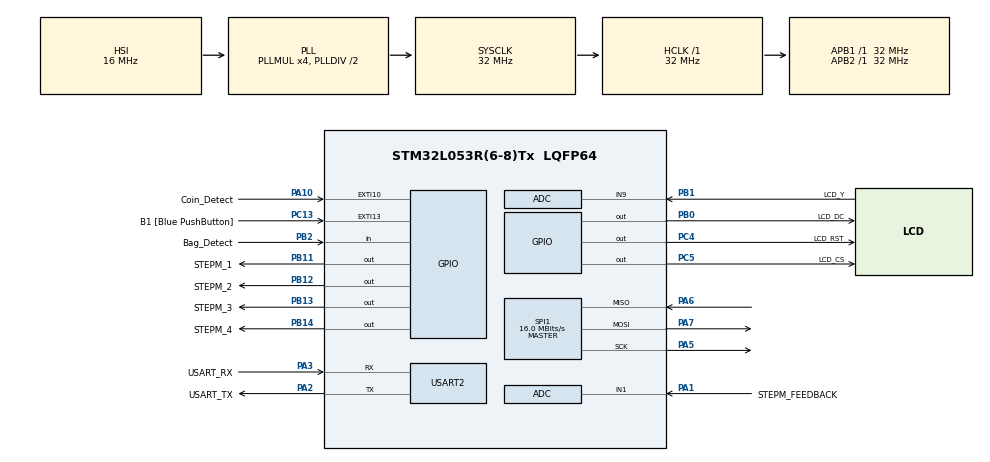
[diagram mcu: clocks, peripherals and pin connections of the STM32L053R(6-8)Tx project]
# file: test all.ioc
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ADC.ClockPrescaler=ADC_CLOCK_SYNC_PCLK_DIV2
ADC.ContinuousConvMode=ENABLE
ADC.DMAContinuousRequests=DISABLE
ADC.DataAlign=ADC_DATAALIGN_RIGHT
ADC.DiscontinuousConvMode=DISABLE
ADC.EOCSelection=ADC_EOC_SINGLE_CONV
ADC.EnableAnalogWatchDog=false
ADC.ExternalTrigConv=ADC_SOFTWARE_START
ADC.ExternalTrigConvEdge=ADC_EXTERNALTRIGCONVEDGE_NONE
ADC.LowPowerAutoPowerOff=DISABLE
ADC.LowPowerAutoWait=DISABLE
ADC.LowPowerFrequencyMode=ENABLE
ADC.Overrun=ADC_OVR_DATA_PRESERVED
ADC.OversamplingMode=DISABLE
ADC.Resolution=ADC_RESOLUTION_12B
ADC.SamplingTime=ADC_SAMPLETIME_7CYCLES_5
ADC.ScanConvMode=ADC_SCAN_DIRECTION_FORWARD
Mcu.Family=STM32L0
Mcu.Name=STM32L053R(6-8)Tx
Mcu.Package=LQFP64
NVIC.ADC1_COMP_IRQn=true\:0\:0\:false\:false\:true\:true
NVIC.EXTI4_15_IRQn=true\:0\:0\:false\:false\:true\:true
PA1.GPIO_Label=STEPM_FEEDBACK
PA1.Mode=IN1
PA1.Signal=ADC_IN1
PA10.GPIO_Label=Coin_Detect
PA10.GPIO_ModeDefaultEXTI=GPIO_MODE_IT_FALLING
PA10.GPIO_PuPd=GPIO_PULLUP
PA10.Signal=GPXTI10
PA13.GPIO_Label=TMS
PA13.Mode=Serial_Wire
PA13.Signal=SYS_SWDIO
PA14.GPIO_Label=TCK
PA14.Mode=Serial_Wire
PA14.Signal=SYS_SWCLK
PA2.GPIO_Label=USART_TX
PA2.Mode=Asynchronous
PA2.Signal=USART2_TX
PA3.GPIO_Label=USART_RX
PA3.Mode=Asynchronous
PA3.Signal=USART2_RX
PA5.Mode=Full_Duplex_Master
PA5.Signal=SPI1_SCK
PA6.Mode=Full_Duplex_Master
PA6.Signal=SPI1_MISO
PA7.Mode=Full_Duplex_Master
PA7.Signal=SPI1_MOSI
PB0.GPIO_Label=LCD_DC
PB0.Signal=GPIO_Output
PB1.GPIO_Label=LCD_Y
PB1.Mode=IN9
PB1.Signal=ADC_IN9
PB11.GPIO_Label=STEPM_1
PB11.Signal=GPIO_Output
PB12.GPIO_Label=STEPM_2
PB12.Signal=GPIO_Output
PB13.GPIO_Label=STEPM_3
PB13.Signal=GPIO_Output
PB14.GPIO_Label=STEPM_4
PB14.Signal=GPIO_Output
PB2.GPIO_Label=Bag_Detect
PB2.Signal=GPIO_Input
PC13.GPIO_Label=B1 [Blue PushButton]
PC13.GPIO_ModeDefaultEXTI=GPIO_MODE_IT_FALLING
PC13.Signal=GPXTI13
PC14-OSC32_IN.Mode=LSE-External-Oscillator
PC14-OSC32_IN.Signal=RCC_OSC32_IN
PC15-OSC32_OUT.Mode=LSE-External-Oscillator
PC15-OSC32_OUT.Signal=RCC_OSC32_OUT
PC4.GPIO_Label=LCD_RST
PC4.Signal=GPIO_Output
PC5.GPIO_Label=LCD_CS
PC5.Signal=GPIO_Output
PH0-OSC_IN.Mode=HSE-External-Clock-Source
PH0-OSC_IN.Signal=RCC_OSC_IN
PH1-OSC_OUT.Signal=RCC_OSC_OUT
ProjectManager.HeapSize=0x200
ProjectManager.StackSize=0x400
ProjectManager.TargetToolchain=MDK-ARM V5
RCC.AHBFreq_Value=32000000
RCC.APB1Freq_Value=32000000
RCC.APB1TimFreq_Value=32000000
RCC.APB2Freq_Value=32000000
RCC.APB2TimFreq_Value=32000000
RCC.HCLKFreq_Value=32000000
RCC.HSE_VALUE=8000000
RCC.HSI16_VALUE=16000000
RCC.HSI48_VALUE=48000000
RCC.HSI_VALUE=16000000
RCC.MSI_VALUE=2097000
RCC.PLLMUL=RCC_PLLMUL_4
RCC.SYSCLKFreq_VALUE=32000000
RCC.SYSCLKSource=RCC_SYSCLKSOURCE_PLLCLK
RCC.VCOOutputFreq_Value=64000000
SPI1.CalculateBaudRate=16.0 MBits/s
SPI1.Direction=SPI_DIRECTION_2LINES
SPI1.Mode=SPI_MODE_MASTER
SPI1.VirtualType=VM_MASTER
USART2.VirtualMode-Asynchronous=VM_ASYNC
board=NUCLEO-L053R8

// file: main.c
/**
  ******************************************************************************
  * @file           : main.c
  * @brief          : Main program body
  ******************************************************************************
  ** This notice applies to any and all portions of this file
  * that are not between comment pairs USER CODE BEGIN and
  * USER CODE END. Other portions of this file, whether
  * inserted by the user or by software development tools
  * are owned by their respective copyright owners.
  *
  * COPYRIGHT(c) 2018 STMicroelectronics
  *
  * Redistribution and use in source and binary forms, with or without modification,
  * are permitted provided that the following conditions are met:
  *   1. Redistributions of source code must retain the above copyright notice,
  *      this list of conditions and the following disclaimer.
  *   2. Redistributions in binary form must reproduce the above copyright notice,
  *      this list of conditions and the following disclaimer in the documentation
  *      and/or other materials provided with the distribution.
  *   3. Neither the name of STMicroelectronics nor the names of its contributors
  *      may be used to endorse or promote products derived from this software
  *      without specific prior written permission.
  *
  * THIS SOFTWARE IS PROVIDED BY THE COPYRIGHT HOLDERS AND CONTRIBUTORS "AS IS"
  * AND ANY EXPRESS OR IMPLIED WARRANTIES, INCLUDING, BUT NOT LIMITED TO, THE
  * IMPLIED WARRANTIES OF MERCHANTABILITY AND FITNESS FOR A PARTICULAR PURPOSE ARE
  * DISCLAIMED. IN NO EVENT SHALL THE COPYRIGHT HOLDER OR CONTRIBUTORS BE LIABLE
  * FOR ANY DIRECT, INDIRECT, INCIDENTAL, SPECIAL, EXEMPLARY, OR CONSEQUENTIAL
  * DAMAGES (INCLUDING, BUT NOT LIMITED TO, PROCUREMENT OF SUBSTITUTE GOODS OR
  * SERVICES; LOSS OF USE, DATA, OR PROFITS; OR BUSINESS INTERRUPTION) HOWEVER
  * CAUSED AND ON ANY THEORY OF LIABILITY, WHETHER IN CONTRACT, STRICT LIABILITY,
  * OR TORT (INCLUDING NEGLIGENCE OR OTHERWISE) ARISING IN ANY WAY OUT OF THE USE
  * OF THIS SOFTWARE, EVEN IF ADVISED OF THE POSSIBILITY OF SUCH DAMAGE.
  *
  ******************************************************************************
  */
#include "main.h"
#include "stm32l0xx_hal.h"

/* USER CODE BEGIN Includes */
#include "motor_driver.h"
#include "stdbool.h"
/* USER CODE END Includes */

ADC_HandleTypeDef hadc;

SPI_HandleTypeDef hspi1;

UART_HandleTypeDef huart2;

/* USER CODE BEGIN PV */
/* Private variables ------------------------------------ ---------------------*/
bool coin_detect=0;
bool action_done=0;
bool clamp_state=clamp_closed;
bool roller_state=roller_stopped;
uint8_t current_stage=0;
bool timeout_start=0;
bool timed_out=0;

extern uint32_t ms_count;
/* USER CODE END PV */

void SystemClock_Config(void);
static void MX_GPIO_Init(void);
static void MX_USART2_UART_Init(void);
static void MX_ADC_Init(void);
static void MX_SPI1_Init(void);

/* USER CODE BEGIN PFP */
/* Private function prototypes -----------------------------------------------*/
void motor_actions(bool action);
/* USER CODE END PFP */

int main(void)
{

  /* MCU Configuration----------------------------------------------------------*/

  /* Reset of all peripherals, Initializes the Flash interface and the Systick. */
  HAL_Init();

  /* Configure the system clock */
  SystemClock_Config();

  /* USER CODE BEGIN SysInit */
  SysTick_Config(HAL_RCC_GetSysClockFreq()/1000);

  /* USER CODE END SysInit */

  /* Initialize all configured peripherals */
  MX_GPIO_Init();
  MX_USART2_UART_Init();
  MX_ADC_Init();
  MX_SPI1_Init();
  /* USER CODE BEGIN 2 */
  dc_motor_init();
  stepper_init();
  /* USER CODE END 2 */

  /* Infinite loop */
  /* USER CODE BEGIN WHILE */
  while (1)
  {
    switch(current_stage)
    {
      case wait_coin:
        clamp_state=clamp_closed;
        roller_state=roller_stopped;
        if(action_done == 0)
        {
          if(roller_state==roller_running)
            dc_motor_on(800,1);
          else
            dc_motor_off();
          if(clamp_state == clamp_closed)
          {
            stepper_motor_on(1);
            HAL_Delay(3000);
          }
          else
          {
            stepper_motor_on(0);
            HAL_Delay(3000);
          }
          stepper_motor_off();
          action_done=1;
        }
        if(coin_detect == 1)
        {
          current_stage = dispensing_roll;
          action_done = 0;
        }
      break;
      case dispensing_roll:
        clamp_state=clamp_open;
        roller_state=roller_running;
        if(action_done == 0)
        {
          if(clamp_state == clamp_closed)
          {
            stepper_motor_on(1);
            HAL_Delay(3000);
          }
          else
          {
             stepper_motor_on(0);
             HAL_Delay(3000);
          }
          if(roller_state==roller_running)
            dc_motor_on(800,1);
          else
            dc_motor_off();
          stepper_motor_off();
          action_done=1;
        }
        while(detect_bag);
        while(detect_gap);
        while(detect_bag&&timed_out!=1)
        {
          timeout_start=1;
        }
        if(timed_out==1)
          current_stage=empty_roll;
        else
          current_stage=wait_coin;
        ms_count=0;
        timeout_start=0;
        coin_detect=0;
        action_done=0;
      break;
      case empty_roll:
        if(action_done==0)
        {
          dc_motor_off();
          action_done=1;
        }
      break;
    }
  /* USER CODE END WHILE */

  }

}

void SystemClock_Config(void)
{

  RCC_OscInitTypeDef RCC_OscInitStruct;
  RCC_ClkInitTypeDef RCC_ClkInitStruct;
  RCC_PeriphCLKInitTypeDef PeriphClkInit;

    /**Configure the main internal regulator output voltage
    */
  __HAL_PWR_VOLTAGESCALING_CONFIG(PWR_REGULATOR_VOLTAGE_SCALE1);

    /**Initializes the CPU, AHB and APB busses clocks
    */
  RCC_OscInitStruct.OscillatorType = RCC_OSCILLATORTYPE_HSI;
  RCC_OscInitStruct.HSIState = RCC_HSI_ON;
  RCC_OscInitStruct.HSICalibrationValue = 16;
  RCC_OscInitStruct.PLL.PLLState = RCC_PLL_ON;
  RCC_OscInitStruct.PLL.PLLSource = RCC_PLLSOURCE_HSI;
  RCC_OscInitStruct.PLL.PLLMUL = RCC_PLLMUL_4;
  RCC_OscInitStruct.PLL.PLLDIV = RCC_PLLDIV_2;
  if (HAL_RCC_OscConfig(&RCC_OscInitStruct) != HAL_OK)
  {
    _Error_Handler(__FILE__, __LINE__);
  }

    /**Initializes the CPU, AHB and APB busses clocks
    */
  RCC_ClkInitStruct.ClockType = RCC_CLOCKTYPE_HCLK|RCC_CLOCKTYPE_SYSCLK
                              |RCC_CLOCKTYPE_PCLK1|RCC_CLOCKTYPE_PCLK2;
  RCC_ClkInitStruct.SYSCLKSource = RCC_SYSCLKSOURCE_PLLCLK;
  RCC_ClkInitStruct.AHBCLKDivider = RCC_SYSCLK_DIV1;
  RCC_ClkInitStruct.APB1CLKDivider = RCC_HCLK_DIV1;
  RCC_ClkInitStruct.APB2CLKDivider = RCC_HCLK_DIV1;

  if (HAL_RCC_ClockConfig(&RCC_ClkInitStruct, FLASH_LATENCY_1) != HAL_OK)
  {
    _Error_Handler(__FILE__, __LINE__);
  }

  PeriphClkInit.PeriphClockSelection = RCC_PERIPHCLK_USART2;
  PeriphClkInit.Usart2ClockSelection = RCC_USART2CLKSOURCE_PCLK1;
  if (HAL_RCCEx_PeriphCLKConfig(&PeriphClkInit) != HAL_OK)
  {
    _Error_Handler(__FILE__, __LINE__);
  }

    /**Configure the Systick interrupt time
    */
  HAL_SYSTICK_Config(HAL_RCC_GetHCLKFreq()/1000);

    /**Configure the Systick
    */
  HAL_SYSTICK_CLKSourceConfig(SYSTICK_CLKSOURCE_HCLK);

  /* SysTick_IRQn interrupt configuration */
  HAL_NVIC_SetPriority(SysTick_IRQn, 0, 0);
}

/* ADC init function */
static void MX_ADC_Init(void)
{

  ADC_ChannelConfTypeDef sConfig;

    /**Configure the global features of the ADC (Clock, Resolution, Data Alignment and number of conversion)
    */
  hadc.Instance = ADC1;
  hadc.Init.OversamplingMode = DISABLE;
  hadc.Init.ClockPrescaler = ADC_CLOCK_SYNC_PCLK_DIV2;
  hadc.Init.Resolution = ADC_RESOLUTION_12B;
  hadc.Init.SamplingTime = ADC_SAMPLETIME_7CYCLES_5;
  hadc.Init.ScanConvMode = ADC_SCAN_DIRECTION_FORWARD;
  hadc.Init.DataAlign = ADC_DATAALIGN_RIGHT;
  hadc.Init.ContinuousConvMode = ENABLE;
  hadc.Init.DiscontinuousConvMode = DISABLE;
  hadc.Init.ExternalTrigConvEdge = ADC_EXTERNALTRIGCONVEDGE_NONE;
  hadc.Init.ExternalTrigConv = ADC_SOFTWARE_START;
  hadc.Init.DMAContinuousRequests = DISABLE;
  hadc.Init.EOCSelection = ADC_EOC_SINGLE_CONV;
  hadc.Init.Overrun = ADC_OVR_DATA_PRESERVED;
  hadc.Init.LowPowerAutoWait = DISABLE;
  hadc.Init.LowPowerFrequencyMode = ENABLE;
  hadc.Init.LowPowerAutoPowerOff = DISABLE;
  if (HAL_ADC_Init(&hadc) != HAL_OK)
  {
    _Error_Handler(__FILE__, __LINE__);
  }

    /**Configure for the selected ADC regular channel to be converted.
    */
  sConfig.Channel = ADC_CHANNEL_1;
  sConfig.Rank = ADC_RANK_CHANNEL_NUMBER;
  if (HAL_ADC_ConfigChannel(&hadc, &sConfig) != HAL_OK)
  {
    _Error_Handler(__FILE__, __LINE__);
  }

    /**Configure for the selected ADC regular channel to be converted.
    */
  sConfig.Channel = ADC_CHANNEL_9;
  if (HAL_ADC_ConfigChannel(&hadc, &sConfig) != HAL_OK)
  {
    _Error_Handler(__FILE__, __LINE__);
  }

}

/* SPI1 init function */
static void MX_SPI1_Init(void)
{

  /* SPI1 parameter configuration*/
  hspi1.Instance = SPI1;
  hspi1.Init.Mode = SPI_MODE_MASTER;
  hspi1.Init.Direction = SPI_DIRECTION_2LINES;
  hspi1.Init.DataSize = SPI_DATASIZE_8BIT;
  hspi1.Init.CLKPolarity = SPI_POLARITY_LOW;
  hspi1.Init.CLKPhase = SPI_PHASE_1EDGE;
  hspi1.Init.NSS = SPI_NSS_SOFT;
  hspi1.Init.BaudRatePrescaler = SPI_BAUDRATEPRESCALER_2;
  hspi1.Init.FirstBit = SPI_FIRSTBIT_MSB;
  hspi1.Init.TIMode = SPI_TIMODE_DISABLE;
  hspi1.Init.CRCCalculation = SPI_CRCCALCULATION_DISABLE;
  hspi1.Init.CRCPolynomial = 7;
  if (HAL_SPI_Init(&hspi1) != HAL_OK)
  {
    _Error_Handler(__FILE__, __LINE__);
  }

}

/* USART2 init function */
static void MX_USART2_UART_Init(void)
{

  huart2.Instance = USART2;
  huart2.Init.BaudRate = 115200;
  huart2.Init.WordLength = UART_WORDLENGTH_8B;
  huart2.Init.StopBits = UART_STOPBITS_1;
  huart2.Init.Parity = UART_PARITY_NONE;
  huart2.Init.Mode = UART_MODE_TX_RX;
  huart2.Init.HwFlowCtl = UART_HWCONTROL_NONE;
  huart2.Init.OverSampling = UART_OVERSAMPLING_16;
  huart2.Init.OneBitSampling = UART_ONE_BIT_SAMPLE_DISABLE;
  huart2.AdvancedInit.AdvFeatureInit = UART_ADVFEATURE_NO_INIT;
  if (HAL_UART_Init(&huart2) != HAL_OK)
  {
    _Error_Handler(__FILE__, __LINE__);
  }

}

/** Configure pins as
        * Analog
        * Input
        * Output
        * EVENT_OUT
        * EXTI
*/
static void MX_GPIO_Init(void)
{

  GPIO_InitTypeDef GPIO_InitStruct;

  /* GPIO Ports Clock Enable */
  __HAL_RCC_GPIOC_CLK_ENABLE();
  __HAL_RCC_GPIOH_CLK_ENABLE();
  __HAL_RCC_GPIOA_CLK_ENABLE();
  __HAL_RCC_GPIOB_CLK_ENABLE();

  /*Configure GPIO pin Output Level */
  HAL_GPIO_WritePin(GPIOC, LCD_RST_Pin|LCD_CS_Pin, GPIO_PIN_RESET);

  /*Configure GPIO pin Output Level */
  HAL_GPIO_WritePin(LCD_DC_GPIO_Port, LCD_DC_Pin, GPIO_PIN_RESET);

  /*Configure GPIO pin : B1_Pin */
  GPIO_InitStruct.Pin = B1_Pin;
  GPIO_InitStruct.Mode = GPIO_MODE_IT_FALLING;
  GPIO_InitStruct.Pull = GPIO_NOPULL;
  HAL_GPIO_Init(B1_GPIO_Port, &GPIO_InitStruct);

  /*Configure GPIO pins : LCD_RST_Pin LCD_CS_Pin */
  GPIO_InitStruct.Pin = LCD_RST_Pin|LCD_CS_Pin;
  GPIO_InitStruct.Mode = GPIO_MODE_OUTPUT_PP;
  GPIO_InitStruct.Pull = GPIO_NOPULL;
  GPIO_InitStruct.Speed = GPIO_SPEED_FREQ_LOW;
  HAL_GPIO_Init(GPIOC, &GPIO_InitStruct);

  /*Configure GPIO pin : LCD_DC_Pin */
  GPIO_InitStruct.Pin = LCD_DC_Pin;
  GPIO_InitStruct.Mode = GPIO_MODE_OUTPUT_PP;
  GPIO_InitStruct.Pull = GPIO_NOPULL;
  GPIO_InitStruct.Speed = GPIO_SPEED_FREQ_LOW;
  HAL_GPIO_Init(LCD_DC_GPIO_Port, &GPIO_InitStruct);

  /*Configure GPIO pin : Bag_Detect_Pin */
  GPIO_InitStruct.Pin = Bag_Detect_Pin;
  GPIO_InitStruct.Mode = GPIO_MODE_INPUT;
  GPIO_InitStruct.Pull = GPIO_NOPULL;
  HAL_GPIO_Init(Bag_Detect_GPIO_Port, &GPIO_InitStruct);

  /*Configure GPIO pin : Coin_Detect_Pin */
  GPIO_InitStruct.Pin = Coin_Detect_Pin;
  GPIO_InitStruct.Mode = GPIO_MODE_IT_FALLING;
  GPIO_InitStruct.Pull = GPIO_PULLUP;
  HAL_GPIO_Init(Coin_Detect_GPIO_Port, &GPIO_InitStruct);

  /* EXTI interrupt init*/
  HAL_NVIC_SetPriority(EXTI4_15_IRQn, 0, 0);
  HAL_NVIC_EnableIRQ(EXTI4_15_IRQn);

}

/* USER CODE BEGIN 4 */
void HAL_GPIO_EXTI_Callback(uint16_t GPIO_Pin)
{
  if(GPIO_Pin == GPIO_PIN_10)
  {
    coin_detect=1;
  }

}

/* USER CODE END 4 */

void _Error_Handler(char *file, int line)
{
  while(1)
  {
  }
}

/************************ (C) COPYRIGHT STMicroelectronics *****END OF FILE****/
